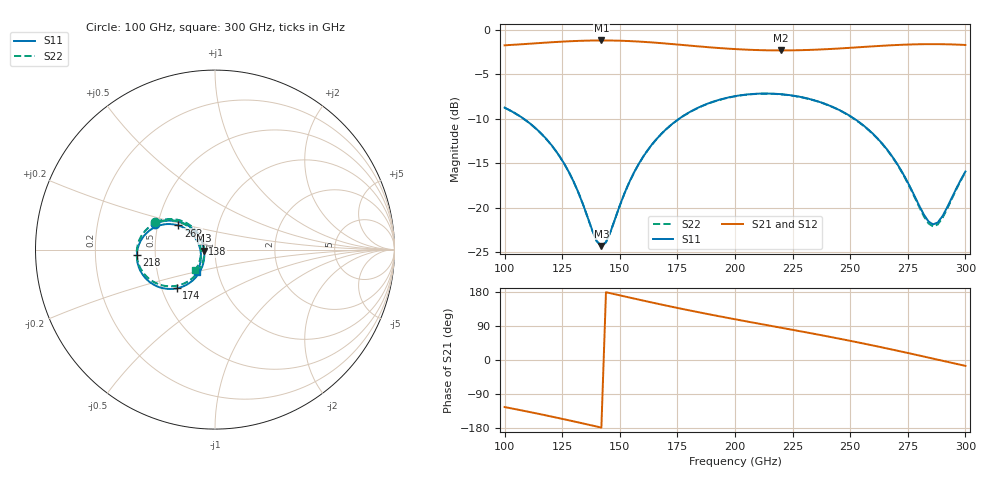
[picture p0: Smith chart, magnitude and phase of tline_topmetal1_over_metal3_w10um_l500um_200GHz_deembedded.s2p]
! Created with skrf 2.0.1 (http://scikit-rf.org).
# GHz S DB R 50.0
!freq dBS11 angS11 dBS21 angS21 dBS12 angS12 dBS22 angS22
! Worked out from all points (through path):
!   101 points, 100 GHz to 300 GHz, reference 50 ohm
!   highest |S21| = -1.22 dB at 142 GHz (marker M1); lowest = -2.3 dB at 220 GHz (marker M2)
!   group delay of S21, straight-line fit = 3.43 ps
!   lowest |S11| = -24.3 dB at 142 GHz (marker M3), VSWR 1.13, Z = 44.3 - j0.514 ohm
!   |S11| at or under -10 dB: 108.3 GHz to 175.7 GHz (67.5 GHz wide, 47.5 % of centre); 251.8 GHz to end of sweep
!   |S22| runs from -24.3 to -7.2 dB; largest |S21 - S12| = 8.8e-14
!   S11 on the Smith chart (normalised r, x): 100 GHz: 0.48, +0.16; 138 GHz: 0.87, +0.05; 174 GHz: 0.60, -0.28; 218 GHz: 0.39, -0.03; 262 GHz: 0.64, +0.18; 300 GHz: 0.79, -0.20
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100  -8.75 157.3  -1.76 -124.2  -1.76 -124.2  -8.77 155.5
120  -12.85 140.0  -1.43 -148.8  -1.43 -148.8  -12.86 137.8
128  -16.03 137.3  -1.31 -159.3  -1.31 -159.3  -16.05 134.9
134  -19.58 142.5  -1.25 -167.4  -1.25 -167.4  -19.60 140.0
138  -22.50 156.2  -1.23 -172.9  -1.23 -172.9  -22.51 153.7
142  -24.29 -174.6  -1.22 -178.4  -1.22 -178.4  -24.30 -177.2
144  -23.85 -157.8  -1.22 178.9  -1.22 178.9  -23.86 -160.5
156  -16.12 -124.3  -1.31 162.4  -1.31 162.4  -16.13 -127.2
168  -11.70 -129.7  -1.52 146.4  -1.52 146.4  -11.72 -132.8
174  -10.33 -134.8  -1.65 138.7  -1.65 138.7  -10.35 -138.0
186  -8.53 -146.0  -1.92 123.9  -1.92 123.9  -8.55 -149.5
200  -7.47 -159.4  -2.18 107.5  -2.18 107.5  -7.49 -163.2
218  -7.21 -176.3  -2.33 87.4  -2.33 87.4  -7.23 179.6
220  -7.25 -178.2  -2.33 85.2  -2.33 85.2  -7.27 177.7
234  -7.90 169.0  -2.26 69.4  -2.26 69.4  -7.92 164.6
250  -9.70 155.1  -2.04 50.6  -2.04 50.6  -9.73 150.3
262  -12.24 146.6  -1.84 35.6  -1.84 35.6  -12.28 141.5
268  -14.14 144.6  -1.76 27.8  -1.76 27.8  -14.20 139.2
282  -20.77 165.3  -1.63 9.0  -1.63 9.0  -20.96 159.6
286  -21.85 -173.1  -1.63 3.6  -1.63 3.6  -22.09 -178.3
290  -20.96 -150.8  -1.64 -1.9  -1.64 -1.9  -21.15 -155.5
300  -15.92 -129.1  -1.72 -15.5  -1.72 -15.5  -15.99 -133.9
